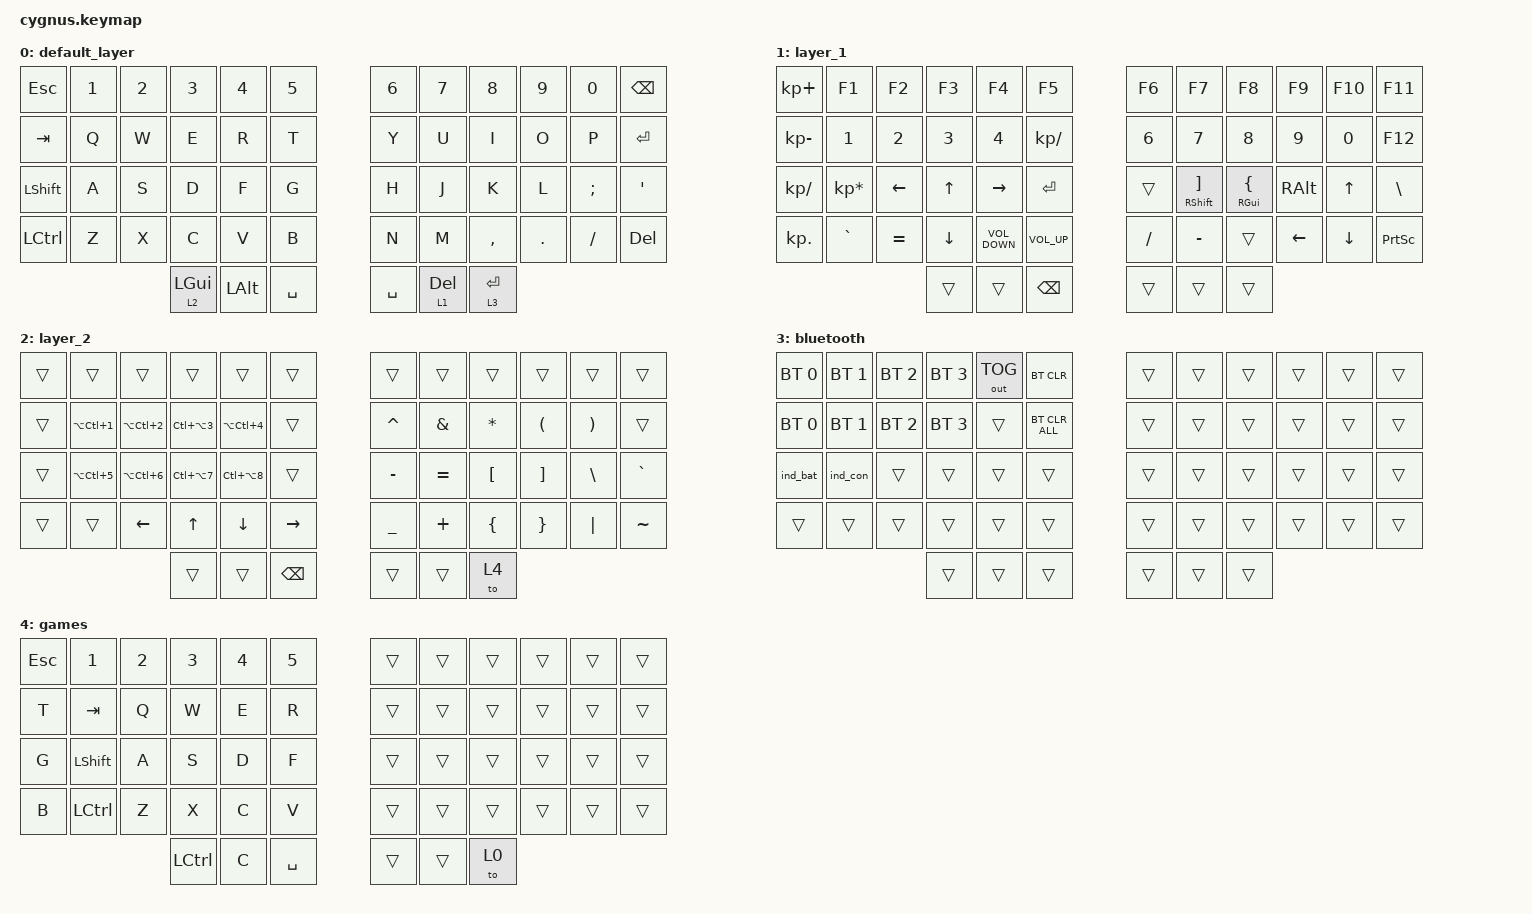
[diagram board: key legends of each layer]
#include <behaviors/rgbled_widget.dtsi>
#include <behaviors.dtsi>
#include <dt-bindings/zmk/bt.h>
#include <dt-bindings/zmk/outputs.h>
#include <dt-bindings/zmk/keys.h>

/ {
    combos {
        compatible = "zmk,combos";

        bluetooth {
            bindings = <&mo 3>;
            key-positions = <41 36>;
        };
    };

    behaviors {
        hml: hml {
            compatible = "zmk,behavior-hold-tap";
            label = "HOME_ROW_LEFT";
            bindings = <&kp>, <&kp>;

            #binding-cells = <2>;
            hold-trigger-key-positions = <6 7 8 9 10 11 18 19 20 21 22 23 30 31 32 33 34 35 42 43 44 45 46 47>;
            tapping-term-ms = <180>;
            quick-tap-ms = <175>;
            require-prior-idle-ms = <150>;
            flavor = "balanced";
            hold-trigger-on-release;
        };

        hmr: hmr {
            compatible = "zmk,behavior-hold-tap";
            label = "HOME_ROW_RIGHT";
            bindings = <&kp>, <&kp>;

            #binding-cells = <2>;
            tapping-term-ms = <180>;
            quick-tap-ms = <175>;
            require-prior-idle-ms = <150>;
            flavor = "balanced";
            hold-trigger-key-positions = <0 1 2 3 4 5 12 13 14 15 16 17 24 25 26 27 28 29 36 37 38 39 40 41>;
            hold-trigger-on-release;
        };
    };

    keymap {
        compatible = "zmk,keymap";

        default_layer {
            // -----------------------------------------------------------------------------------------
            // |  ESC |  1  |  2  |  3  |  4  |  5  |   |  6  |  7   |  8  |  9  |  0  | BKSP |
            // |  TAB |  Q  |  W  |  E  |  R  |  T  |   |  Y  |  U   |  I  |  O  |  P  | BKSP |
            // | CTRL |  A  |  S  |  D  |  F  |  G  |   |  H  |  J   |  K  |  L  |  ;  |  '   |
            // | SHFT |  Z  |  X  |  C  |  V  |  B  |   |  N  |  M   |  ,  |  .  |  /  | ESC  |
            //                    | GUI | LWR | SPC |   | SPC | RSE  | ALT |

            bindings = <
&kp ESCAPE  &kp N1  &kp N2  &kp N3          &kp N4        &kp N5       &kp N6     &kp N7     &kp N8       &kp N9   &kp N0     &kp BSPC
&kp TAB     &kp Q   &kp W   &kp E           &kp R         &kp T        &kp Y      &kp U      &kp I        &kp O    &kp P      &kp ENTER
&kp LSHFT   &kp A   &kp S   &kp D           &kp F         &kp G        &kp H      &kp J      &kp K        &kp L    &kp SEMI   &kp SQT
&kp LCTRL   &kp Z   &kp X   &kp C           &kp V         &kp B        &kp N      &kp M      &kp COMMA    &kp DOT  &kp SLASH  &kp DEL
                            &lt 2 LEFT_GUI  &kp LEFT_ALT  &kp SPACE    &kp SPACE  &lt 1 DEL  &lt 3 ENTER
            >;
        };

        layer_1 {
            // -----------------------------------------------------------------------------------------
            // |  TAB |  F1 |  F2 |  F3 |  F4 |  F5 |   |  F6 |  F7 |  F8 |  F9 | F10 | BKSP |
            // |  TAB |  1  |  2  |  3  |  4  |  5  |   |  6  |  7  |  8  |  9  |  0  | BKSP |
            // | BTCLR| BT1 | BT2 | BT3 | BT4 | BT5 |   | LFT | DWN |  UP | RGT |     |      |
            // | SHFT |     |     |     |     |     |   |     |     |     |     |     |      |
            //                    | GUI |     | SPC |   | ENT |     | ALT |

            bindings = <
&kp KP_PLUS    &kp F1           &kp F2          &kp F3          &kp F4             &kp F5             &kp F6     &kp F7                          &kp F8                     &kp F9         &kp F10       &kp F11
&kp KP_MINUS   &kp NUMBER_1     &kp NUMBER_2    &kp NUMBER_3    &kp NUMBER_4       &kp KP_DIVIDE      &kp N6     &kp N7                          &kp N8                     &kp N9         &kp N0        &kp F12
&kp KP_DIVIDE  &kp KP_MULTIPLY  &kp LEFT_ARROW  &kp UP_ARROW    &kp RIGHT          &kp ENTER          &trans     &hmr RIGHT_SHIFT RIGHT_BRACKET  &hmr RIGHT_GUI LEFT_BRACE  &kp RIGHT_ALT  &kp UP_ARROW  &kp BSLH
&kp KP_DOT     &kp GRAVE        &kp EQUAL       &kp DOWN_ARROW  &kp C_VOLUME_DOWN  &kp C_VOLUME_UP    &kp SLASH  &kp MINUS                       &trans                     &kp LEFT       &kp DOWN      &kp PRINTSCREEN
                                                &trans          &trans             &kp BACKSPACE      &trans     &trans                          &trans
            >;
        };

        layer_2 {
            // -----------------------------------------------------------------------------------------
            // |  TAB |  !  |  @  |  #  |  $  |  %  |   |  ^  |  &  |  *  |  (  |  )  | BKSP |
            // | CTRL |     |     |     |     |     |   |  -  |  =  |  [  |  ]  |  \  |  `   |
            // | SHFT |     |     |     |     |     |   |  _  |  +  |  {  |  }  | "|" |  ~   |
            //                    | GUI |     | SPC |   | ENT |     | ALT |

            bindings = <
&trans  &trans                &trans                &trans                &trans                &trans             &trans     &trans     &trans     &trans    &trans    &trans
&trans  &kp LA(LC(NUMBER_1))  &kp LA(LC(NUMBER_2))  &kp LC(LA(NUMBER_3))  &kp LA(LC(NUMBER_4))  &trans             &kp CARET  &kp AMPS   &kp ASTRK  &kp LPAR  &kp RPAR  &trans
&trans  &kp LA(LC(N5))        &kp LA(LC(NUMBER_6))  &kp LC(LA(N7))        &kp LC(LA(N8))        &trans             &kp MINUS  &kp EQUAL  &kp LBKT   &kp RBKT  &kp BSLH  &kp GRAVE
&trans  &trans                &kp LEFT_ARROW        &kp UP_ARROW          &kp DOWN_ARROW        &kp RIGHT_ARROW    &kp UNDER  &kp PLUS   &kp LBRC   &kp RBRC  &kp PIPE  &kp TILDE
                                                    &trans                &trans                &kp BACKSPACE      &trans     &trans     &to 4
            >;
        };

        bluetooth {
            bindings = <
&bt BT_SEL 0  &bt BT_SEL 1  &bt BT_SEL 2  &bt BT_SEL 3  &out OUT_TOG  &bt BT_CLR      &trans  &trans  &trans  &trans  &trans  &trans
&bt BT_SEL 0  &bt BT_SEL 1  &bt BT_SEL 2  &bt BT_SEL 3  &trans        &bt BT_CLR_ALL  &trans  &trans  &trans  &trans  &trans  &trans
&ind_bat      &ind_con      &trans        &trans        &trans  &trans        &trans  &trans  &trans  &trans  &trans  &trans
&trans        &trans        &trans        &trans        &trans  &trans        &trans  &trans  &trans  &trans  &trans  &trans
                                          &trans        &trans  &trans        &trans  &trans  &trans
            >;
        };

        games {
            bindings = <
&kp ESC  &kp NUMBER_1  &kp N2  &kp N3     &kp N4  &kp N5       &trans  &trans  &trans  &trans  &trans  &trans
&kp T    &kp TAB       &kp Q   &kp W      &kp E   &kp R        &trans  &trans  &trans  &trans  &trans  &trans
&kp G    &kp LSHFT     &kp A   &kp S      &kp D   &kp F        &trans  &trans  &trans  &trans  &trans  &trans
&kp B    &kp LCTRL     &kp Z   &kp X      &kp C   &kp V        &trans  &trans  &trans  &trans  &trans  &trans
                               &kp LCTRL  &kp C   &kp SPACE    &trans  &trans  &to 0
            >;
        };
    };
};
